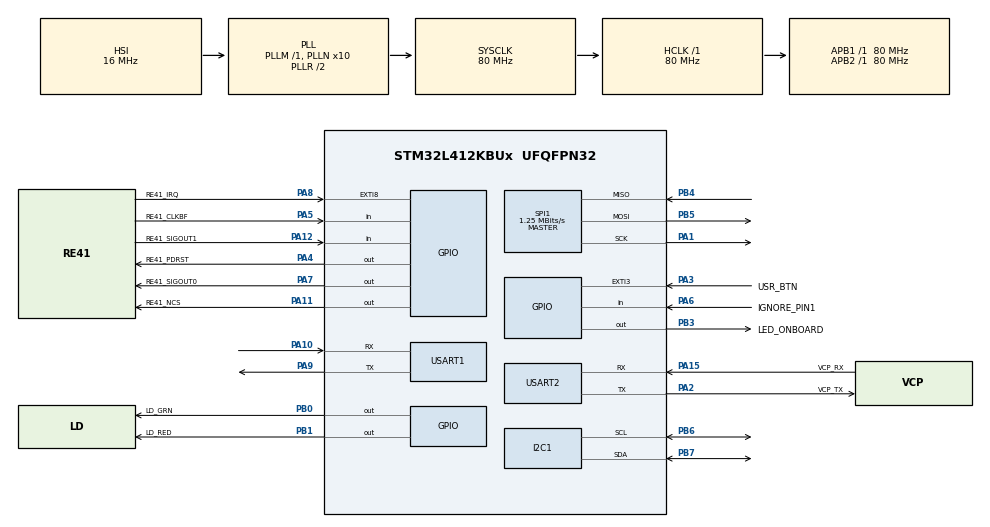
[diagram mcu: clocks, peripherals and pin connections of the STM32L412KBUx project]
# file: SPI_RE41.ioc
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I2C1.Timing=0x10D19CE4
Mcu.Family=STM32L4
Mcu.Name=STM32L412KBUx
Mcu.Package=UFQFPN32
NVIC.EXTI3_IRQn=true\:0\:0\:true\:false\:true\:true\:true\:true
NVIC.EXTI9_5_IRQn=true\:1\:0\:true\:false\:true\:true\:true\:true
NVIC.PriorityGroup=NVIC_PRIORITYGROUP_4
NVIC.USART2_IRQn=true\:0\:0\:false\:false\:true\:true\:true\:true
PA1.Mode=Full_Duplex_Master
PA1.Signal=SPI1_SCK
PA10.Mode=Asynchronous
PA10.Signal=USART1_RX
PA11.GPIO_Label=RE41_NCS
PA11.Signal=GPIO_Output
PA12.GPIO_Label=RE41_SIGOUT1
PA12.Signal=GPIO_Input
PA13\ (JTMS/SWDIO).GPIO_Label=SWDIO
PA13\ (JTMS/SWDIO).Mode=Serial_Wire
PA13\ (JTMS/SWDIO).Signal=SYS_JTMS-SWDIO
PA14\ (JTCK/SWCLK).GPIO_Label=SWCLK
PA14\ (JTCK/SWCLK).Mode=Serial_Wire
PA14\ (JTCK/SWCLK).Signal=SYS_JTCK-SWCLK
PA15\ (JTDI).GPIO_Label=VCP_RX
PA15\ (JTDI).Mode=Asynchronous
PA15\ (JTDI).Signal=USART2_RX
PA2.GPIO_Label=VCP_TX
PA2.Mode=Asynchronous
PA2.Signal=USART2_TX
PA3.GPIO_Label=USR_BTN
PA3.GPIO_ModeDefaultEXTI=GPIO_MODE_IT_FALLING
PA3.GPIO_PuPd=GPIO_PULLUP
PA3.Signal=GPXTI3
PA4.GPIO_Label=RE41_PDRST
PA4.Signal=GPIO_Output
PA5.GPIO_Label=RE41_CLKBF
PA5.Signal=GPIO_Input
PA6.GPIO_Label=IGNORE_PIN1
PA6.Signal=GPIO_Input
PA7.GPIO_Label=RE41_SIGOUT0
PA7.Signal=GPIO_Output
PA8.GPIO_Label=RE41_IRQ
PA8.Signal=GPXTI8
PA9.Mode=Asynchronous
PA9.Signal=USART1_TX
PB0.GPIO_Label=LD_GRN
PB0.Signal=GPIO_Output
PB1.GPIO_Label=LD_RED
PB1.Signal=GPIO_Output
PB3\ (JTDO/TRACESWO).GPIO_Label=LED_ONBOARD
PB3\ (JTDO/TRACESWO).Signal=GPIO_Output
PB4\ (NJTRST).Mode=Full_Duplex_Master
PB4\ (NJTRST).Signal=SPI1_MISO
PB5.Mode=Full_Duplex_Master
PB5.Signal=SPI1_MOSI
PB6.GPIO_Pu=GPIO_PULLUP
PB6.Mode=I2C
PB6.Signal=I2C1_SCL
PB7.GPIO_Pu=GPIO_PULLUP
PB7.Mode=I2C
PB7.Signal=I2C1_SDA
ProjectManager.HeapSize=0x200
ProjectManager.StackSize=0x400
ProjectManager.TargetToolchain=STM32CubeIDE
RCC.ADCFreq_Value=80000000
RCC.AHBFreq_Value=80000000
RCC.APB1Freq_Value=80000000
RCC.APB1TimFreq_Value=80000000
RCC.APB2Freq_Value=80000000
RCC.APB2TimFreq_Value=80000000
RCC.CortexFreq_Value=80000000
RCC.FLatency=FLASH_LATENCY_4
RCC.HCLKFreq_Value=80000000
RCC.HSE_VALUE=8000000
RCC.HSI48_VALUE=48000000
RCC.HSICalibrationValue=64
RCC.HSI_VALUE=16000000
RCC.LSE_VALUE=32768
RCC.MSI_VALUE=4000000
RCC.PLLN=10
RCC.PLLSourceVirtual=RCC_PLLSOURCE_HSI
RCC.SYSCLKFreq_VALUE=80000000
RCC.SYSCLKSource=RCC_SYSCLKSOURCE_PLLCLK
RCC.USBFreq_Value=4000000
RCC.VCOOutputFreq_Value=160000000
SPI1.BaudRatePrescaler=SPI_BAUDRATEPRESCALER_64
SPI1.CalculateBaudRate=1.25 MBits/s
SPI1.DataSize=SPI_DATASIZE_8BIT
SPI1.Direction=SPI_DIRECTION_2LINES
SPI1.Mode=SPI_MODE_MASTER
SPI1.NSSPMode=SPI_NSS_PULSE_DISABLE
SPI1.VirtualType=VM_MASTER
TIM1.AutoReloadPreload=TIM_AUTORELOAD_PRELOAD_ENABLE
TIM1.Prescaler=2
TIM2.Period=65535
TIM2.Prescaler=15
USART1.VirtualMode-Asynchronous=VM_ASYNC
USART2.VirtualMode-Asynchronous=VM_ASYNC
VP_TIM1_VS_ClockSourceINT.Mode=Internal
VP_TIM1_VS_OPM.Mode=OPM_bit
VP_TIM2_VS_ClockSourceINT.Mode=Internal
board=NUCLEO-L412KB

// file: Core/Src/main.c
/* USER CODE BEGIN Header */
/**
 ******************************************************************************
 * @file           : main.c
 * @brief          : Main program body
 ******************************************************************************
 * @attention
 *
 * Copyright (c) 2026 STMicroelectronics.
 * All rights reserved.
 *
 * This software is licensed under terms that can be found in the LICENSE file
 * in the root directory of this software component.
 * If no LICENSE file comes with this software, it is provided AS-IS.
 *
 ******************************************************************************
 */
/* USER CODE END Header */
#include "main.h"
#include "i2c.h"
#include "spi.h"
#include "tim.h"
#include "usart.h"
#include "gpio.h"

/* USER CODE BEGIN Includes */
// standard library
#include <string.h>
#include <stdio.h>
#include <stdbool.h>

// RE41 Lib
#include "hfreader.h"
#include "re41.h"
#include "re41_ex.h"

#include "re41_interface.h"
// Take SPI From spi file.
/* USER CODE END Includes */

/* USER CODE BEGIN PD */
#define RE41_IRQ_CFG 1   // 0: disable, 1: enable
#define RE41_RSTPD_CFG 0 // 0: disable, 1: enable
/* USER CODE END PD */

/* USER CODE BEGIN PV */
extern SPI_HandleTypeDef hspi1;
extern uint8_t uart_buf[50];
extern volatile uint8_t uart_size;
extern volatile uint8_t payload_length;
extern volatile bool packet_complete;

uint8_t response_data;
HFREADER_DrvTypeDef *hfReaderDrv;
re41_configProtocol_t g_tagType;
/* USER CODE END PV */

void SystemClock_Config(void);

int main(void)
{

  /* USER CODE BEGIN 1 */
  hfalStatus_t status = HFAL_ERROR;
  /* USER CODE END 1 */

  /* MCU Configuration--------------------------------------------------------*/

  /* Reset of all peripherals, Initializes the Flash interface and the Systick. */
  HAL_Init();

  /* Configure the system clock */
  SystemClock_Config();

  /* Initialize all configured peripherals */
  MX_GPIO_Init();
  MX_USART2_UART_Init();
  MX_SPI1_Init();
  MX_I2C1_Init();
  MX_USART1_UART_Init();
  MX_TIM1_Init();
  MX_TIM2_Init();
  /* USER CODE BEGIN 2 */
  // RE41 initial standard
  RE41_init(RE41_IRQ_CFG, RE41_RSTPD_CFG, &hfReaderDrv);
  // RE41 initial extended
  RE41Ext_init(RE41_IRQ_CFG, RE41_RSTPD_CFG);

  // RE41 reset before using
  HAL_GPIO_WritePin(RE41_PDRST_GPIO_Port, RE41_PDRST_Pin, SET);
  HAL_Delay(10);
  HAL_GPIO_WritePin(RE41_PDRST_GPIO_Port, RE41_PDRST_Pin, RESET);
  HAL_Delay(10);

  // analyze interface between MCU and RE41 reader
  status = RE41_analyze();
  if (status != HFAL_SUCCESS)
  {
    HAL_UART_Transmit(&huart2, (uint8_t *)"\r\nRE41-Interface-Error", 22, HAL_MAX_DELAY);
    while (1)
      ; // break here
  }

  // configure RE41 reader
  status = RE41_configuration(ISO14443A_106KBPS);
  if (status != HFAL_SUCCESS)
  {
    while (1)
    {
      HAL_UART_Transmit(&huart2, (uint8_t *)"\r\nRE41-Unknown-Series", 21, HAL_MAX_DELAY);
    }
  }
  g_tagType = ISO14443A_106KBPS;

  RE41_rfOperate(RFOFF);
  HAL_Delay(25);
  RE41_rfOperate(RFON);
  HAL_Delay(25);

  HAL_UARTEx_ReceiveToIdle_IT(&huart2, uart_buf, 50);
  // Enable debug in sleep mode for testing with ST-Link
  HAL_DBGMCU_EnableDBGSleepMode();
  // Delay to allow debugger to connect before entering main loop
  HAL_Delay(2000);
  /* USER CODE END 2 */

  /* Infinite loop */
  /* USER CODE BEGIN WHILE */
  while (1)
  {
    // Enter sleep mode, will wake up on UART receive interrupt
    HAL_SuspendTick();
    HAL_PWR_EnterSLEEPMode(PWR_MAINREGULATOR_ON, PWR_SLEEPENTRY_WFI);
    HAL_ResumeTick();

    if (packet_complete)
    {
      Data_StatusTypeDef status = Data_Verify(uart_buf, uart_size);

      if (status == CHECKSUM_OK)
      {
        uint8_t cmd = uart_buf[CMD_INDEX];
        switch (cmd)
        {
        case SPI_WRITE:
        {
          response_data = uart_buf[4];
          Write_Register(uart_buf[ADDRESS_INDEX], response_data);
          Read_Register(uart_buf[ADDRESS_INDEX], &response_data);
          Response(&response_data, 1);
          break;
        }
        case SPI_READ_SINGLE:
        {
          Read_Register(uart_buf[ADDRESS_INDEX], &response_data);
          Response(&response_data, 1);
          break;
        }
        case SPI_RESET:
          Reset_RE41();
          response_data = 0x00;        // Indicate success
          Response(&response_data, 1); // Acknowledge reset
          break;
        case SPI_READ_MULTIPLE:
        {
          uint8_t num_bytes = uart_buf[1] - 2; // Total length - CMD and BCC
          uint8_t spi_data_buffer[num_bytes];
          Read_Multiple_Register(&uart_buf[ADDRESS_INDEX], spi_data_buffer, num_bytes);
          Response(spi_data_buffer, num_bytes);
          break;
        }
        case SPI_WRITE_MULTIPLE:
        {
          uint8_t num_bytes = uart_buf[1] - 3; // Total length - CMD, ADDR, and BCC
          uint8_t spi_data_buffer[num_bytes];
          for (uint8_t i = 0; i < num_bytes; i++)
          {
            spi_data_buffer[i] = uart_buf[4 + i];
          }
          Write_Multiple_Register(uart_buf[ADDRESS_INDEX], spi_data_buffer, num_bytes);
          Read_Register(uart_buf[ADDRESS_INDEX], &response_data);
          Response(&response_data, 1);
          break;
        }
        case TAG_TYPE_A_WRITE:
          // data is uart_buf[4] to uart_buf[7]
          write_type_A(uart_buf[ADDRESS_INDEX], (uint8_t *)uart_buf + 4, 4);
          read_type_A(uart_buf[ADDRESS_INDEX]);
          break;
        case TAG_TYPE_A_READ:
          read_type_A(uart_buf[ADDRESS_INDEX]);
          break;
        case TAG_TYPE_A_DUMP:
          dump_mem();
          break;
        case TAG_TYPE_A_READ_UID:
          read_uid_type_A();
          break;
        default:
          break;
        }
      }
      else
      {
        Response(&status, 1);
      }
      Prepare_Next_Packet();
    }
    /* USER CODE END WHILE */
  }
}
void SystemClock_Config(void)
{
  RCC_OscInitTypeDef RCC_OscInitStruct = {0};
  RCC_ClkInitTypeDef RCC_ClkInitStruct = {0};

  /** Configure the main internal regulator output voltage
   */
  if (HAL_PWREx_ControlVoltageScaling(PWR_REGULATOR_VOLTAGE_SCALE1) != HAL_OK)
  {
    Error_Handler();
  }

  /** Initializes the RCC Oscillators according to the specified parameters
   * in the RCC_OscInitTypeDef structure.
   */
  RCC_OscInitStruct.OscillatorType = RCC_OSCILLATORTYPE_HSI;
  RCC_OscInitStruct.HSIState = RCC_HSI_ON;
  RCC_OscInitStruct.HSICalibrationValue = RCC_HSICALIBRATION_DEFAULT;
  RCC_OscInitStruct.PLL.PLLState = RCC_PLL_ON;
  RCC_OscInitStruct.PLL.PLLSource = RCC_PLLSOURCE_HSI;
  RCC_OscInitStruct.PLL.PLLM = 1;
  RCC_OscInitStruct.PLL.PLLN = 10;
  RCC_OscInitStruct.PLL.PLLQ = RCC_PLLQ_DIV2;
  RCC_OscInitStruct.PLL.PLLR = RCC_PLLR_DIV2;
  if (HAL_RCC_OscConfig(&RCC_OscInitStruct) != HAL_OK)
  {
    Error_Handler();
  }

  /** Initializes the CPU, AHB and APB buses clocks
   */
  RCC_ClkInitStruct.ClockType = RCC_CLOCKTYPE_HCLK | RCC_CLOCKTYPE_SYSCLK | RCC_CLOCKTYPE_PCLK1 | RCC_CLOCKTYPE_PCLK2;
  RCC_ClkInitStruct.SYSCLKSource = RCC_SYSCLKSOURCE_PLLCLK;
  RCC_ClkInitStruct.AHBCLKDivider = RCC_SYSCLK_DIV1;
  RCC_ClkInitStruct.APB1CLKDivider = RCC_HCLK_DIV1;
  RCC_ClkInitStruct.APB2CLKDivider = RCC_HCLK_DIV1;

  if (HAL_RCC_ClockConfig(&RCC_ClkInitStruct, FLASH_LATENCY_4) != HAL_OK)
  {
    Error_Handler();
  }
}

void Error_Handler(void)
{
  __disable_irq();
  while (1)
  {
  }
}
